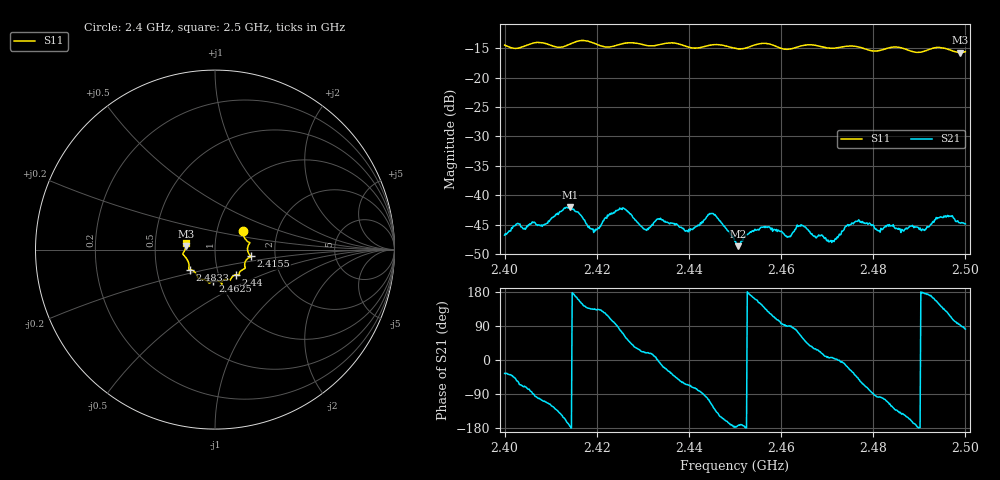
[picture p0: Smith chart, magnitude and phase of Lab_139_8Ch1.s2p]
# Hz S RI R 50
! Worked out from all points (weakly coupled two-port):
!   601 points, 2.4 GHz to 2.5 GHz, reference 50 ohm
!   highest |S21| = -42.03 dB at 2.4142 GHz (marker M1); lowest = -48.7 dB at 2.4507 GHz (marker M2)
!   lowest |S11| = -15.7 dB at 2.4988 GHz (marker M3), VSWR 1.39, Z = 36 + j1.37 ohm
!   |S11| at or under -10 dB: start of sweep to end of sweep
!   S12 and S22 are empty: the file has one direction only
!   S11 on the Smith chart (normalised r, x): 2.4 GHz: 1.33, +0.29; 2.4155 GHz: 1.49, -0.11; 2.44 GHz: 1.21, -0.35; 2.4625 GHz: 0.92, -0.34; 2.4833 GHz: 0.74, -0.17; 2.5 GHz: 0.72, +0.06
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2.4e9  0.1562 0.1059  0.00372 -0.00265  0 0  0 0
2.414167e9  0.1907 -0.0263  -0.00788 -0.000707  0 0  0 0
2.4155e9  0.199 -0.0364  -0.00702 0.0017  0 0  0 0
2.416667e9  0.2028 -0.0406  -0.00573 0.00339  0 0  0 0
2.4195e9  0.1903 -0.0442  -0.00357 0.00356  0 0  0 0
2.425333e9  0.167 -0.0971  0.00189 0.00747  0 0  0 0
2.430667e9  0.1488 -0.1151  0.00481 0.00164  0 0  0 0
2.433333e9  0.1343 -0.1339  0.00625 -0.000259  0 0  0 0
2.44e9  0.1152 -0.1399  0.00199 -0.00472  0 0  0 0
2.445167e9  0.0851 -0.1701  -0.00368 -0.00594  0 0  0 0
2.45e9  0.064 -0.1654  -0.00402 -0.000168  0 0  0 0
2.450667e9  0.0571 -0.1659  -0.00365 -0.000452  0 0  0 0
2.456167e9  0.0383 -0.1918  -0.00417 0.00337  0 0  0 0
2.4625e9  -0.0106 -0.1768  0.000415 0.00476  0 0  0 0
2.464333e9  -0.0272 -0.184  0.00251 0.00501  0 0  0 0
2.466667e9  -0.0333 -0.1869  0.00381 0.00276  0 0  0 0
2.471e9  -0.0582 -0.1679  0.00393 0.000435  0 0  0 0
2.4765e9  -0.0948 -0.1569  0.00417 -0.0043  0 0  0 0
2.483333e9  -0.1398 -0.1113  -0.00211 -0.00502  0 0  0 0
2.496667e9  -0.1716 -0.00927  -0.00289 0.00593  0 0  0 0
2.498833e9  -0.1622 0.0186  -0.000244 0.0058  0 0  0 0
2.5e9  -0.1621 0.0374  0.000841 0.00563  0 0  0 0
